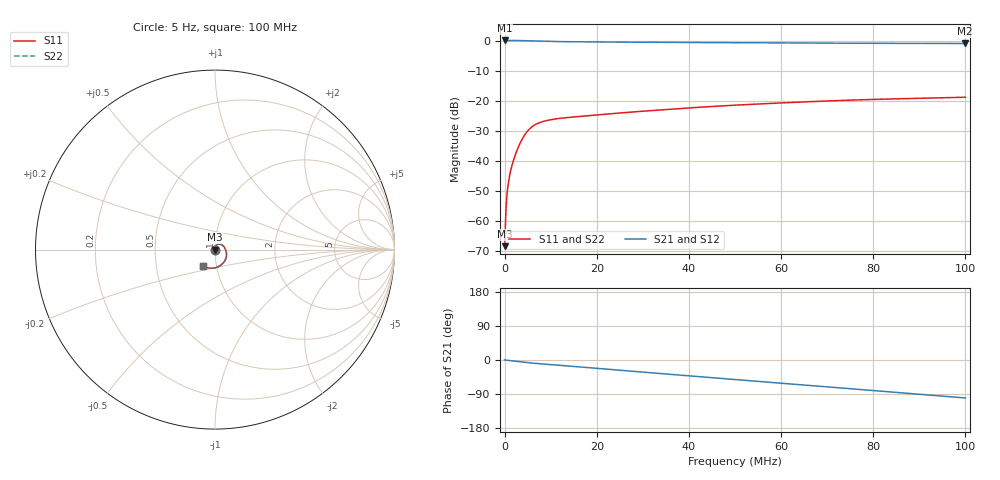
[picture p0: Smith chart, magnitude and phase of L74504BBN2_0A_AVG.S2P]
!Agilent Technologies,E5061B,MY49102235,A.02.00
!Date: Mon Jul 10 17:12:02 2023
!Data & Calibration Information:
!Freq	S11:SOLT2(ON)	S21:SOLT2(ON)	S12:SOLT2(ON)	S22:SOLT2(ON)
# Hz S RI R 50
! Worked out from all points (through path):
!   1600 points, 5 Hz to 100 MHz, reference 50 ohm
!   highest |S21| = 0.02 dB at 5 Hz (marker M1); lowest = -1.0 dB at 99.81 MHz (marker M2)
!   group delay of S21, straight-line fit = 2.73 ns
!   lowest |S11| = -68.2 dB at 62.54 kHz (marker M3), VSWR 1.00, Z = 50 + j0.0384 ohm
!   |S11| at or under -10 dB: start of sweep to end of sweep
!   |S22| runs from -79.2 to -18.7 dB; largest |S21 - S12| = 0.0027
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5  -0.00048 0.000433  1.002 0.0023  1.001 -6.35e-05  -8.81e-05 -6.48e-05
62544.08  -4.81e-05 0.000384  1 -0.00133  1 -0.00107  2.68e-05 0.000296
375239.5  0.000152 0.00204  0.9999 -0.00864  1 -0.00871  7.96e-05 0.00201
562856.8  0.000275 0.00304  0.9995 -0.0131  0.9996 -0.0129  0.000197 0.00301
625395.8  0.000263 0.00337  0.9998 -0.0147  0.999 -0.0144  0.000298 0.0034
750474  0.000146 0.00393  0.9995 -0.0176  0.9994 -0.0166  0.000118 0.00396
1000630  0.000227 0.00532  0.9995 -0.0229  0.9993 -0.0229  0.000268 0.00524
1500943  0.000577 0.00788  0.9994 -0.0353  0.9985 -0.0348  0.000571 0.00791
2188873  0.00115 0.0118  0.9982 -0.051  0.9981 -0.0511  0.00115 0.0118
3126959  0.00299 0.0178  0.9955 -0.0741  0.9953 -0.0739  0.003 0.0178
4127585  0.00729 0.0243  0.9903 -0.0987  0.9899 -0.0984  0.00732 0.0243
4940593  0.0128 0.0284  0.9835 -0.1174  0.9833 -0.117  0.0127 0.0284
5753601  0.019 0.0306  0.9758 -0.1342  0.9758 -0.1339  0.019 0.0307
7754851  0.0326 0.0293  0.9579 -0.1686  0.9578 -0.1683  0.0326 0.0293
1.11945e7  0.0457 0.0208  0.9346 -0.2213  0.9345 -0.221  0.0457 0.0208
1.669794e7  0.0548 0.00802  0.9009 -0.3043  0.9009 -0.3042  0.0549 0.00785
3.333334e7  0.0642 -0.0279  0.7611 -0.5378  0.7612 -0.5376  0.0645 -0.0287
5.003127e7  0.0518 -0.0668  0.5689 -0.718  0.5692 -0.7179  0.0515 -0.0676
6.672921e7  0.0169 -0.0955  0.3422 -0.8372  0.3421 -0.837  0.0166 -0.096
8.33646e7  -0.0263 -0.1036  0.0952 -0.8928  0.0955 -0.8928  -0.0268 -0.104
9.981238e7  -0.0679 -0.0921  -0.1553 -0.8783  -0.1556 -0.8785  -0.0685 -0.0929
1e8  -0.0684 -0.0919  -0.1581 -0.8779  -0.1584 -0.8779  -0.0691 -0.0928
